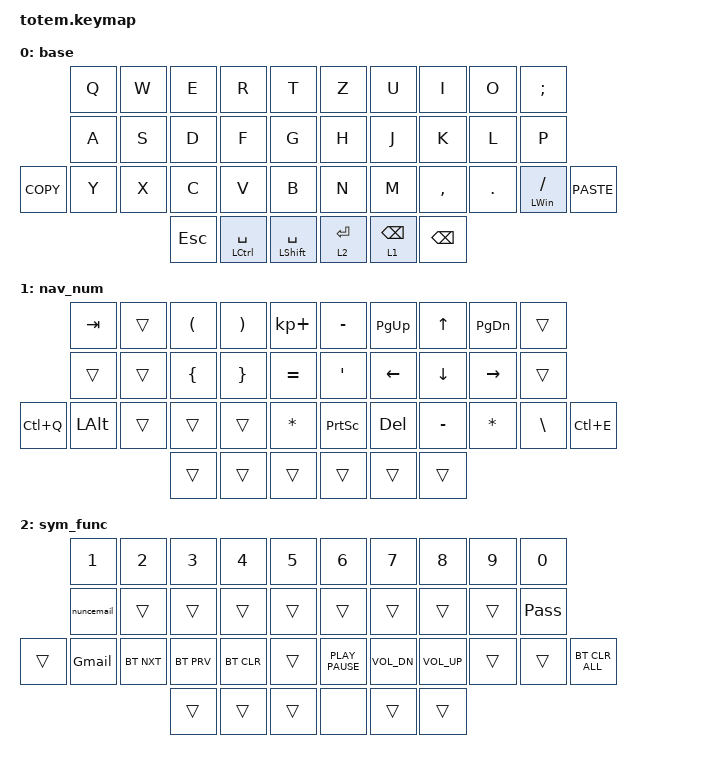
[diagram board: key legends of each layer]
//
//                                                        ▀▀▀▀▀     ▀▀▀▀▀          ▀▀█▀▀
//                                                        ▄▀▀▀▄  ▄  ▄▀▀▀▄  ▄  ▄▀▀▀▄  █  ▄▀▀▀▄
//                                                        █   █  █  █   █  █  █   █  █  █   █
//                                                         ▀▀▀   █   ▀▀▀   █   ▀▀▀   ▀   ▀▀▀
//                                                               █      ▄▄▄█▄▄▄    █   █  
//                                                               ▀      █  █  █     █▄█
//                                                             ▀▀▀▀▀    █  █  █      ▀
//                                                                      ▀  ▀  ▀
//
// ▄▄▄▄▄▄▄▄▄▄▄▄▄▄▄▄▄▄▄▄▄▄▄▄▄▄▄▄▄▄▄▄▄▄▄▄▄▄▄▄▄▄▄▄▄▄▄▄▄▄▄▄▄▄▄▄▄▄▄▄▄▄▄▄▄▄▄▄▄▄▄▄▄▄▄▄▄▄▄▄▄▄▄▄▄▄▄▄▄▄▄▄▄▄▄▄▄▄▄▄▄▄▄▄▄▄▄▄▄▄▄▄▄▄▄▄▄▄▄▄▄▄▄▄▄▄▄▄▄▄▄▄▄▄▄▄▄▄▄▄▄▄▄▄▄▄▄▄▄

#include <behaviors.dtsi>
#include <dt-bindings/zmk/bt.h>
#include <dt-bindings/zmk/keys.h>

/ {
    macros {
        nuncemail: nuncemail {
            compatible = "zmk,behavior-macro";
            #binding-cells = <0>;
            bindings = <&none &kp P &kp R &kp A &kp T &kp H &kp A &kp M &kp E &kp S &kp H &kp AT &kp N &kp E &kp X &kp T &kp L &kp E &kp V &kp E &kp L &kp C &kp O &kp F &kp F &kp E &kp E &kp DOT &kp D &kp E>;
            label = "NUNCEMAIL";
        };

        Pass: Pass {
            compatible = "zmk,behavior-macro";
            #binding-cells = <0>;
            bindings = <&none &kp LS(P) &kp A &kp T &kp Y &kp A &kp S &kp T &kp N1 &kp N0 &kp DLLR>;
            label = "PASS";
        };

        Gmail: Gmail {
            compatible = "zmk,behavior-macro";
            #binding-cells = <0>;
            bindings = <&none &kp M &kp E &kp P &kp R &kp A &kp T &kp H &kp A &kp M &kp E &kp S &kp H &kp P &kp A &kp T &kp I &kp L &kp AT &kp G &kp M &kp A &kp I &kp L &kp DOT &kp C &kp O &kp M>;
            label = "GMAIL";
        };
    };

    keymap {
        compatible = "zmk,keymap";

        base {
            bindings = <
            &kp Q  &kp W  &kp E       &kp R            &kp T                   &kp Z        &kp U            &kp I          &kp O    &kp SEMICOLON
            &kp A  &kp S  &kp D       &kp F            &kp G                   &kp H        &kp J            &kp K          &kp L    &kp P
&kp K_COPY  &kp Y  &kp X  &kp C       &kp V            &kp B                   &kp N        &kp M            &kp COMMA      &kp DOT  &mt LEFT_WIN FSLH  &kp K_PASTE
                          &kp ESCAPE  &mt LCTRL SPACE  &mt LEFT_SHIFT SPACE    &lt 2 ENTER  &lt 1 BACKSPACE  &kp BACKSPACE
            >;
        };

        nav_num {
            bindings = <
           &kp TAB       &trans  &kp LEFT_PARENTHESIS  &kp RIGHT_PARENTHESIS  &kp KP_PLUS     &kp MINUS        &kp PAGE_UP  &kp UP_ARROW  &kp PAGE_DOWN  &trans
           &trans        &trans  &kp LEFT_BRACE        &kp RIGHT_BRACE        &kp EQUAL       &kp APOS         &kp LEFT     &kp DOWN      &kp RIGHT      &trans
&kp LC(Q)  &kp LEFT_ALT  &trans  &trans                &trans                 &kp ASTERISK    &kp PRINTSCREEN  &kp DEL      &kp MINUS     &kp STAR       &kp BACKSLASH  &kp LC(E)
                                 &trans                &trans                 &trans          &trans           &trans       &trans
            >;
        };

        sym_func {
            bindings = <
        &kp NUMBER_1  &kp NUMBER_2  &kp NUMBER_3  &kp NUMBER_4  &kp NUMBER_5    &kp NUMBER_6      &kp NUMBER_7  &kp NUMBER_8     &kp NUMBER_9  &kp NUMBER_0
        &nuncemail    &trans        &trans        &trans        &trans          &trans            &trans        &trans           &trans        &Pass
&trans  &Gmail        &bt BT_NXT    &bt BT_PRV    &bt BT_CLR    &trans          &kp K_PLAY_PAUSE  &kp C_VOL_DN  &kp C_VOLUME_UP  &trans        &trans        &bt BT_CLR_ALL
                                    &trans        &trans        &trans          &none             &trans        &trans
            >;
        };
    };

    conditional_layers {
        compatible = "zmk,conditional-layers";

        device {
            if-layers = <1 2>;
            then-layer = <3>;
        };
    };
};
